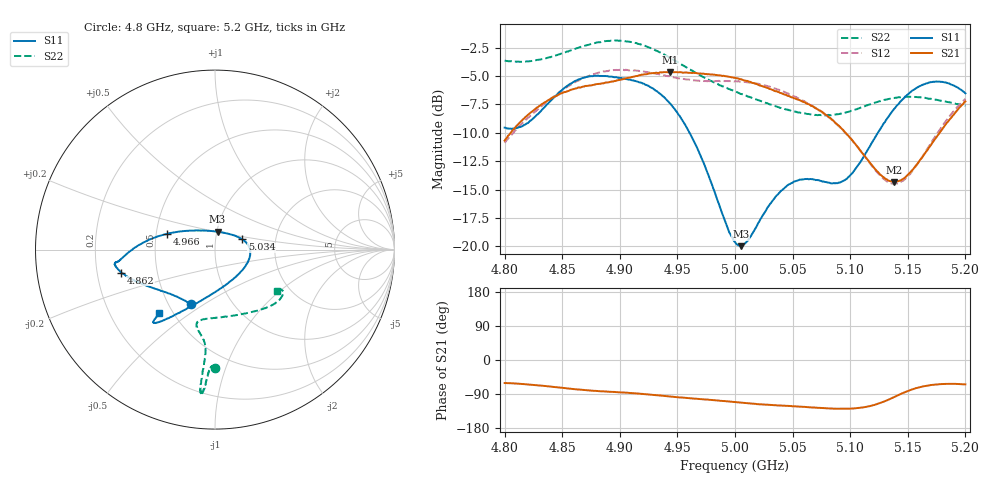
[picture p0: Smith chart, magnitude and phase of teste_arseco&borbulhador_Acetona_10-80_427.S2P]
! Network Analyzer HP8722D
! Hewlett-Packard
! Data name: Linha & Wilkinson
! Saver's name: Rodrigo Anjos
! Comments: Teste da utilização de aquisição
! continua pelo VNA HP8722D
! Time and date: 17/4/2025 17:55
!  Frequency  S11  S21  S12  S22
# HZ  S  MA R 50
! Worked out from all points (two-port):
!   401 points, 4.8 GHz to 5.2 GHz, reference 50 ohm
!   highest |S21| = -4.63 dB at 4.944 GHz (marker M1); lowest = -14.3 dB at 5.138 GHz (marker M2)
!   |S21| within 3 dB of the highest: 4.83 GHz to 5.067 GHz (236.8 MHz wide, 4.78 % of centre); 5.196299 GHz to end of sweep
!   lowest |S11| = -20.0 dB at 5.005 GHz (marker M3), VSWR 1.22, Z = 50.4 + j10.1 ohm
!   |S11| at or under -10 dB: 4.961 GHz to 5.124 GHz (163.3 MHz wide, 3.24 % of centre)
!   |S22| runs from -8.5 to -1.9 dB; largest |S21 - S12| = 0.88
!   S11 on the Smith chart (normalised r, x): 4.8 GHz: 0.64, -0.44; 4.862 GHz: 0.31, -0.11; 4.966 GHz: 0.57, +0.11; 5.034 GHz: 1.35, +0.16; 5.2 GHz: 0.42, -0.39
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4.8e9  0.3334 -113.7  0.2923 -60.8  0.2859 -175.0  0.6573 -90.1
4.819e9  0.3474 -133.7  0.3742 -64.2  0.3631 -173.8  0.6531 -91.7
4.862e9  0.5372 -166.3  0.4965 -77.3  0.5322 -176.9  0.7439 -94.0
4.867e9  0.55 -168.3  0.5036 -78.7  0.547 -177.9  0.7591 -94.1
4.899e9  0.5523 -172.7  0.5401 -85.3  0.5987 175.4  0.8042 -95.5
4.934e9  0.4748 -178.8  0.5807 -93.6  0.5726 171.8  0.7178 -96.0
4.944e9  0.4242 176.5  0.587 -96.3  0.5583 171.8  0.6756 -95.8
4.966e9  0.2791 161.5  0.5805 -102.1  0.5376 173.6  0.58 -95.2
5e9  0.1045 98.5  0.5527 -111.1  0.5339 176.1  0.4811 -99.4
5.005e9  0.1003 81.7  0.5452 -112.4  0.5313 176.1  0.4691 -100.7
5.012e9  0.1076 59.6  0.5311 -114.5  0.5266 175.8  0.4564 -102.0
5.034e9  0.1623 20.7  0.4849 -119.2  0.4968 174.8  0.4162 -103.6
5.05e9  0.191 4.3  0.4533 -122.2  0.4613 174.1  0.3938 -99.6
5.067e9  0.1976 -13.9  0.4157 -125.2  0.4168 173.6  0.3806 -90.7
5.085e9  0.1898 -42.3  0.3589 -128.3  0.3588 173.6  0.3799 -77.0
5.097e9  0.1983 -66.8  0.3129 -128.8  0.3124 174.6  0.3901 -67.1
5.134e9  0.3778 -116.9  0.1943 -103.7  0.1905 -156.6  0.4464 -42.9
5.138e9  0.4024 -119.2  0.1921 -98.0  0.1887 -150.2  0.45 -41.1
5.151e9  0.471 -125.0  0.2087 -80.8  0.2066 -130.3  0.4561 -36.4
5.17e9  0.5288 -129.3  0.2789 -66.1  0.285 -112.4  0.4466 -32.0
5.184e9  0.5248 -130.7  0.351 -63.0  0.3622 -107.3  0.4327 -31.1
5.2e9  0.4722 -131.1  0.4348 -64.4  0.4468 -106.6  0.4164 -33.4
